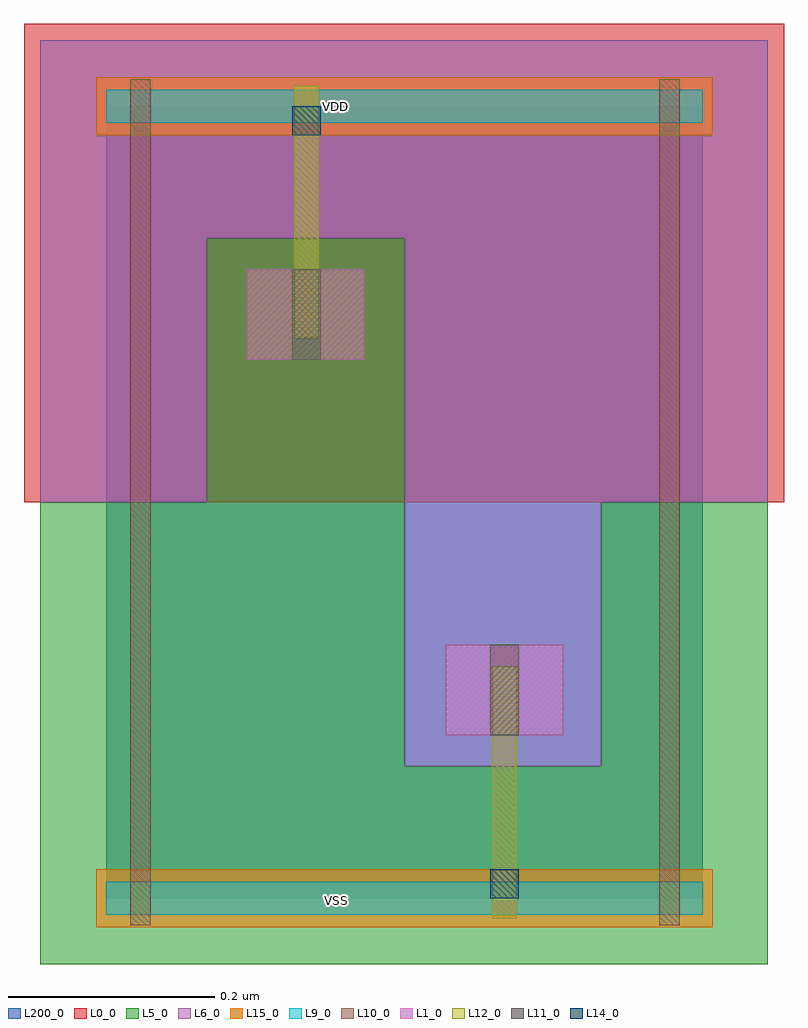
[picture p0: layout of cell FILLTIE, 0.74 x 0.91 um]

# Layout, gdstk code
import gdstk
lib = gdstk.Library(unit=1e-6, precision=1e-09)
def R(c, l, rs):  # rectangles x0, y0, x1, y1
    for r in rs: c.add(gdstk.rectangle(r[:2], r[2:], *l))
def P(c, l, *ps):  # polygons
    for p in ps: c.add(gdstk.Polygon(p, *l))
L0_0 = (0, 0)
L1_0 = (1, 0)
L5_0 = (5, 0)
L6_0 = (6, 0)
L9_0 = (9, 0)
L10_0 = (10, 0)
L11_0 = (11, 0)
L12_0 = (12, 0)
L14_0 = (14, 0)
L15_0 = (15, 0)
L200_0 = (200, 0)

filltie = lib.new_cell('FILLTIE')
R(filltie, L0_0, [(-0.08,0.384,0.657,0.848)])
R(filltie, L1_0, [(0.329,0.158,0.443,0.246), (0.136,0.522,0.25,0.61)])
P(filltie, L5_0, [(-0.064,-0.064),(0.641,-0.064),(0.641,0.384),(0.48,0.384),(0.48,0.128),(0.289,0.128),(0.289,0.64),(0.097,0.64),(0.097,0.384),(-0.064,0.384)])
P(filltie, L6_0, [(-0.064,0.384),(0.097,0.384),(0.097,0.64),(0.289,0.64),(0.289,0.128),(0.48,0.128),(0.48,0.384),(0.641,0.384),(0.641,0.832),(-0.064,0.832)])
R(filltie, L9_0, [(0,-0.016,0.578,0.016), (0,0.752,0.578,0.784)])
R(filltie, L10_0, [(0.023,-0.026,0.043,0.794), (0.536,-0.026,0.556,0.794)])
R(filltie, L11_0, [(0.372,0.158,0.4,0.246), (0.18,0.522,0.208,0.61)])
R(filltie, L12_0, [(0.374,-0.02,0.398,0.225), (0.182,0.543,0.206,0.788)])
R(filltie, L14_0, [(0.372,0,0.4,0.028), (0.18,0.74,0.208,0.768)])
R(filltie, L15_0, [(-0.01,-0.028,0.588,0.028), (-0.01,0.74,0.588,0.796)])
R(filltie, L200_0, [(0,0,0.578,0.768)])
filltie.add(gdstk.Label('VDD', (0.222,0.768), layer=50, texttype=0))
filltie.add(gdstk.Label('VSS', (0.223,-0.002), layer=50, texttype=0))

lib.write_gds('FILLTIE.gds')
